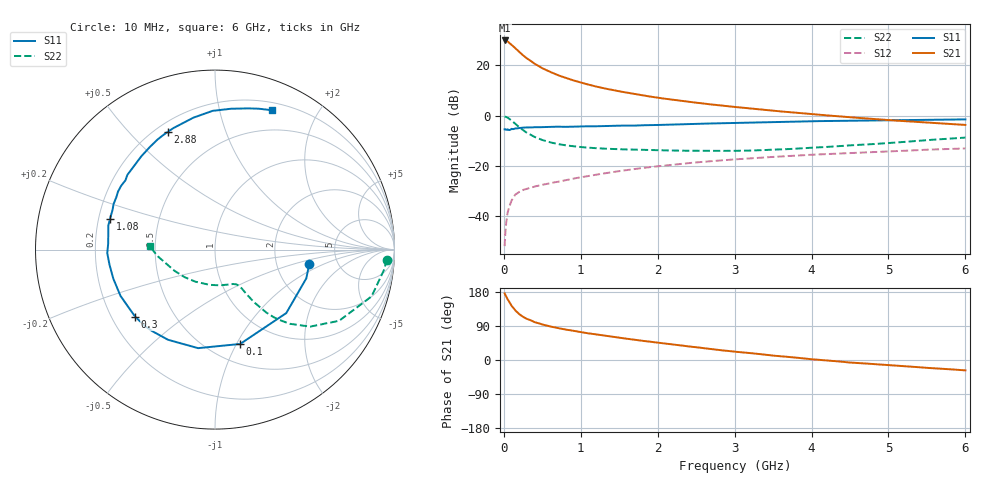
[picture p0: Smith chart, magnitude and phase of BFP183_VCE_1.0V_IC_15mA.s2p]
! Infineon Technologies  Discrete & RF Semiconductors
! BFP183
! VCE = 1.0 V,  IC =  15 mA
! Common Emitter S-Parameters:  Jan 2016
# GHz  S  MA  R  50
!  f  S11  S21  S12  S22
! GHz  MAG  ANG  MAG  ANG  MAG  ANG  MAG  ANG
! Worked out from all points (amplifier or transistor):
!   210 points, 10 MHz to 6 GHz, reference 50 ohm
!   highest |S21| = 29.9 dB at 10 MHz (marker M1)
!   |S21| within 3 dB of that: start of sweep to 145.7 MHz
!   unconditionally stable (mu >= 1): 760.4 MHz to end of sweep
!   at 185 MHz: K = 0.37, MSG = 28.3 dB, |S12| = -30.7 dB
!   at 1.52 GHz: K = 1.21, MAG = 13.1 dB, |S12| = -22.1 dB
!   at 6 GHz: K = 1.02, MAG = 3.8 dB, |S12| = -13.1 dB
!   S11 on the Smith chart (normalised r, x): 10 MHz: 3.10, -0.68; 100 MHz: 0.69, -1.03; 300 MHz: 0.30, -0.34; 1.08 GHz: 0.25, +0.13; 2.88 GHz: 0.25, +0.65; 6 GHz: 0.28, +1.45
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0.01  0.5313 -8.5  31.36 175.9  0.0025 82.4  0.9594 -3.3
0.02  0.5333 -17.5  31.33 172.0  0.0047 84.5  0.9481 -6.9
0.05  0.5318 -41.7  29.94 159.7  0.0118 76.0  0.9106 -16.6
0.1  0.5441 -75.1  25.88 143.1  0.0202 60.9  0.7974 -29.8
0.15  0.5571 -99.7  21.91 130.3  0.0267 53.4  0.682 -39.0
0.2  0.5665 -117.5  18.57 120.9  0.0301 48.2  0.5864 -44.8
0.24  0.5735 -127.7  16.35 115.3  0.0324 46.0  0.5259 -47.8
0.26  0.5773 -132.1  15.4 112.8  0.0334 45.2  0.4992 -49.0
0.3  0.5812 -139.9  13.75 108.4  0.0349 44.3  0.4524 -50.8
0.4  0.5863 -153.9  10.79 99.9  0.0385 42.9  0.3752 -53.2
0.5  0.5892 -164.0  8.764 93.7  0.0418 42.4  0.3258 -54.3
0.6  0.5938 -171.8  7.442 88.6  0.0451 43.6  0.293 -54.8
0.7  0.6005 -178.1  6.382 84.3  0.0479 44.9  0.271 -55.2
1.02  0.6092 166.3  4.453 73.0  0.0596 47.4  0.2344 -57.3
1.08  0.6096 163.7  4.214 71.0  0.0621 47.5  0.2304 -58.0
1.5  0.6297 149.1  3.042 58.7  0.0781 47.8  0.2132 -64.0
2.02  0.6505 133.0  2.242 45.1  0.0985 45.7  0.204 -75.3
2.88  0.7072 111.7  1.553 24.7  0.1297 39.3  0.1982 -100.8
3.1  0.7198 106.9  1.435 20.2  0.1371 37.4  0.1992 -108.3
4.1  0.7754 89.5  1.04 0.5  0.1682 28.7  0.2327 -141.0
5.1  0.8084 76.7  0.794 -14.8  0.195 21.1  0.2905 -166.3
6  0.839 67.7  0.651 -27.4  0.2213 12.7  0.3637 176.9
